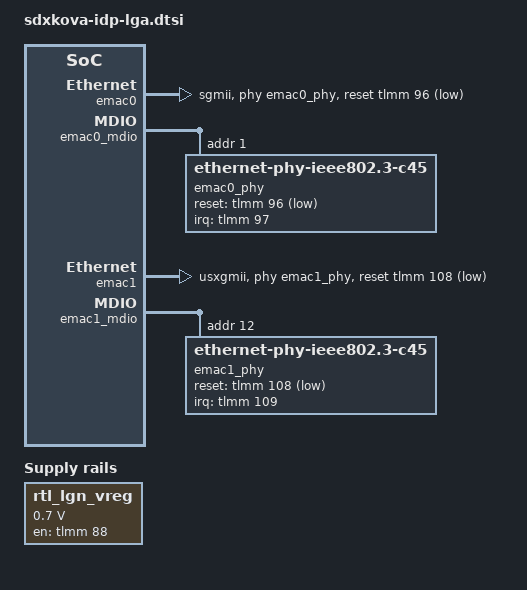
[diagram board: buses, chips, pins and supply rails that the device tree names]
// SPDX-License-Identifier: BSD-3-Clause
/*
 * Copyright (c) Qualcomm Technologies, Inc. and/or its subsidiaries.
 */

#include "sdxkova.dtsi"

&soc {
	rtl_lgn_vreg: rtl_lgn_vreg {
		compatible = "regulator-fixed";
		regulator-name = "rtl_lgn_vreg";
		gpio = <&tlmm 88 GPIO_ACTIVE_HIGH>;
		regulator-min-microvolt = <700000>;
		regulator-max-microvolt = <700000>;
		enable-active-high;
		regulator-enable-ramp-delay = <100000>;
	};
};

&emac0 {
	status = "ok";
	phy-mode = "sgmii";
	managed = "auto";
	snps,reset-active-low;
	snps,reset-gpio = <&tlmm 96 1>;
	snps,reset-delays-us = <10000 40 50000>;
	vreg_emac_phy-supply = <&rtl_lgn_vreg>;
	phy-handle = <&emac0_phy>;
};

&emac0_mdio {
	emac0_phy: emac0_phy {
		compatible = "ethernet-phy-ieee802.3-c45";
		reg = <0x1>;
		device_type = "ethernet-phy";
		reset-gpios = <&tlmm 96 GPIO_ACTIVE_LOW>;
		reset-assert-us = <10000>;
		reset-deassert-us = <50000>;
		interrupts-extended = <&tlmm 97 IRQ_TYPE_EDGE_FALLING>;
	};
};

&emac1 {
	status = "ok";
	phy-handle = <&emac1_phy>;
	phy-mode = "usxgmii";
	managed = "auto";
	snps,reset-active-low;
	snps,reset-gpio = <&tlmm 108 1>;
	snps,reset-delays-us = <1000 100000 221000>;
	vreg_emac_phy-supply = <&rtl_lgn_vreg>;
};

&emac1_mdio {
	emac1_phy: emac1_phy {
		compatible = "ethernet-phy-ieee802.3-c45";
		reg = <0xc>;
		device_type = "ethernet-phy";
		reset-gpios = <&tlmm 108 GPIO_ACTIVE_LOW>;
		reset-assert-us = <1000>;
		reset-deassert-us = <150000>;
		interrupts-extended = <&tlmm 109 IRQ_TYPE_EDGE_FALLING>;
	};
};
